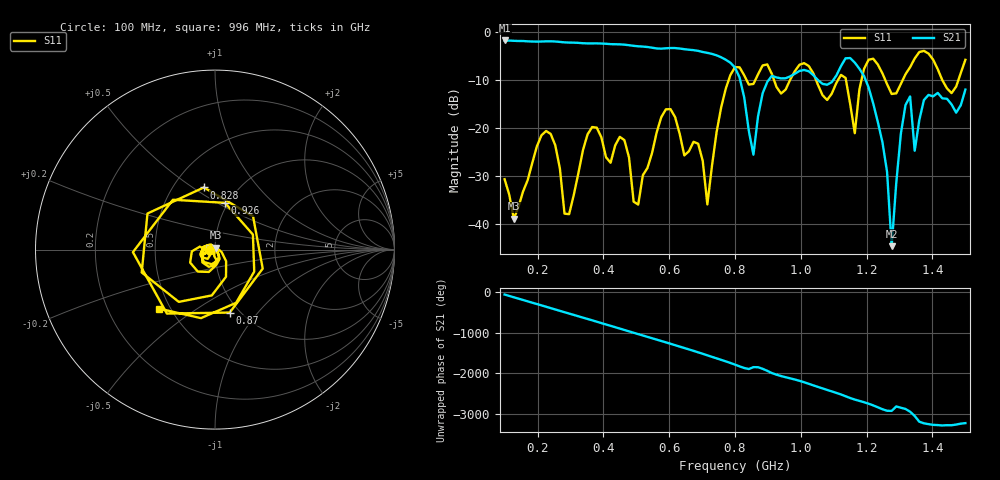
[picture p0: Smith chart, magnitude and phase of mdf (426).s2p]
! NanoVNA-App
! Date: 2025-09-25 15:41:44
! Start: 100MHz Stop: 1,5GHz Points: 101
! S-Parameter data: F S11 S21 S12 S22
# Hz S RI R 50
!  Frequency  S11_Real  S11_Imag  S21_Real  S21_Imag  S12_Real  S12_Imag  S22_Real  S22_Imag
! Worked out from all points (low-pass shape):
!   101 points, 100 MHz to 1.5 GHz, reference 50 ohm
!   highest |S21| = -1.80 dB at 100 MHz (marker M1); lowest = -44.7 dB at 1.276 GHz (marker M2)
!   |S21| within 3 dB of the highest: start of sweep to 739.3 MHz
!   lowest |S11| = -39.0 dB at 128 MHz (marker M3), VSWR 1.02, Z = 50.3 + j1.08 ohm
!   |S11| at or under -10 dB: start of sweep to 781.1 MHz; 1.046 GHz to 1.114 GHz (67.62 MHz wide, 6.26 % of centre); 1.256 GHz to 1.31 GHz (53.71 MHz wide, 4.19 % of centre) (the widest 3 of 7)
!   S12 and S22 are empty: the file has one direction only
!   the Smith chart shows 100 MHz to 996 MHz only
!   S11 on the Smith chart (normalised r, x): 100 MHz: 0.94, -0.01; 828 MHz: 0.70, +0.55; 870 MHz: 0.90, -0.73; 926 MHz: 0.97, +0.54; 996 MHz: 0.43, -0.36
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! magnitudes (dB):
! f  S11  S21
! 100 MHz  -30.7  -1.8
! 128 MHz  -39.0  -1.9
! 212 MHz  -21.6  -2.0
! 282 MHz  -37.9  -2.2
! 338 MHz  -24.7  -2.4
! 464 MHz  -22.6  -2.7
! 506 MHz  -36.0  -3.0
! 576 MHz  -17.8  -3.5
! 716 MHz  -36.0  -4.4
! 800 MHz  -7.4  -7.4
! 828 MHz  -9.1  -13.7
! 870 MHz  -8.9  -17.6
! 926 MHz  -11.5  -9.5
! 996 MHz  -6.9  -8.2
! 1.038 GHz  -8.7  -9.0
! 1.164 GHz  -21.1  -6.4
! 1.192 GHz  -7.7  -9.2
! 1.248 GHz  -8.7  -23.0
! 1.276 GHz  -13.0  -44.7
! 1.318 GHz  -8.8  -15.3
! 1.346 GHz  -5.6  -24.8
! 1.5 GHz  -5.8  -12.1
